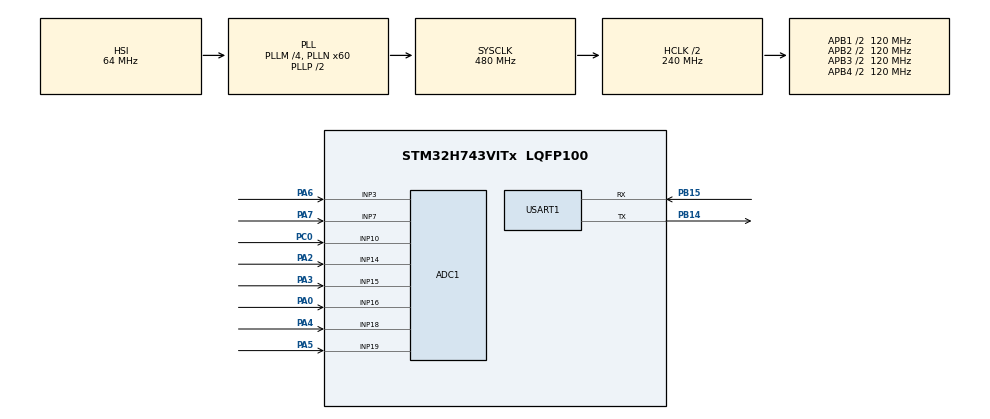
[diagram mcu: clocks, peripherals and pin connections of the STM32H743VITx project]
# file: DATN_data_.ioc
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ADC1.Channel-0\#ChannelRegularConversion=ADC_CHANNEL_3
ADC1.Channel-1\#ChannelRegularConversion=ADC_CHANNEL_7
ADC1.Channel-2\#ChannelRegularConversion=ADC_CHANNEL_10
ADC1.Channel-3\#ChannelRegularConversion=ADC_CHANNEL_14
ADC1.Channel-4\#ChannelRegularConversion=ADC_CHANNEL_15
ADC1.Channel-5\#ChannelRegularConversion=ADC_CHANNEL_16
ADC1.Channel-6\#ChannelRegularConversion=ADC_CHANNEL_18
ADC1.Channel-7\#ChannelRegularConversion=ADC_CHANNEL_19
ADC1.ConversionDataManagement=ADC_CONVERSIONDATA_DMA_CIRCULAR
ADC1.ExternalTrigConv=ADC_EXTERNALTRIG_T2_TRGO
ADC1.NbrOfConversion=8
ADC1.NbrOfConversionFlag=1
ADC1.OffsetNumber-0\#ChannelRegularConversion=ADC_OFFSET_NONE
ADC1.OffsetNumber-1\#ChannelRegularConversion=ADC_OFFSET_NONE
ADC1.OffsetNumber-2\#ChannelRegularConversion=ADC_OFFSET_NONE
ADC1.OffsetNumber-3\#ChannelRegularConversion=ADC_OFFSET_NONE
ADC1.OffsetNumber-4\#ChannelRegularConversion=ADC_OFFSET_NONE
ADC1.OffsetNumber-5\#ChannelRegularConversion=ADC_OFFSET_NONE
ADC1.OffsetNumber-6\#ChannelRegularConversion=ADC_OFFSET_NONE
ADC1.OffsetNumber-7\#ChannelRegularConversion=ADC_OFFSET_NONE
ADC1.OffsetSignedSaturation-0\#ChannelRegularConversion=DISABLE
ADC1.OffsetSignedSaturation-1\#ChannelRegularConversion=DISABLE
ADC1.OffsetSignedSaturation-2\#ChannelRegularConversion=DISABLE
ADC1.OffsetSignedSaturation-3\#ChannelRegularConversion=DISABLE
ADC1.OffsetSignedSaturation-4\#ChannelRegularConversion=DISABLE
ADC1.OffsetSignedSaturation-5\#ChannelRegularConversion=DISABLE
ADC1.OffsetSignedSaturation-6\#ChannelRegularConversion=DISABLE
ADC1.OffsetSignedSaturation-7\#ChannelRegularConversion=DISABLE
ADC1.Rank-0\#ChannelRegularConversion=1
ADC1.Rank-1\#ChannelRegularConversion=2
ADC1.Rank-2\#ChannelRegularConversion=3
ADC1.Rank-3\#ChannelRegularConversion=4
ADC1.Rank-4\#ChannelRegularConversion=5
ADC1.Rank-5\#ChannelRegularConversion=6
ADC1.Rank-6\#ChannelRegularConversion=7
ADC1.Rank-7\#ChannelRegularConversion=8
ADC1.SamplingTime-0\#ChannelRegularConversion=ADC_SAMPLETIME_64CYCLES_5
ADC1.SamplingTime-1\#ChannelRegularConversion=ADC_SAMPLETIME_64CYCLES_5
ADC1.SamplingTime-2\#ChannelRegularConversion=ADC_SAMPLETIME_64CYCLES_5
ADC1.SamplingTime-3\#ChannelRegularConversion=ADC_SAMPLETIME_64CYCLES_5
ADC1.SamplingTime-4\#ChannelRegularConversion=ADC_SAMPLETIME_64CYCLES_5
ADC1.SamplingTime-5\#ChannelRegularConversion=ADC_SAMPLETIME_64CYCLES_5
ADC1.SamplingTime-6\#ChannelRegularConversion=ADC_SAMPLETIME_64CYCLES_5
ADC1.SamplingTime-7\#ChannelRegularConversion=ADC_SAMPLETIME_64CYCLES_5
ADC1.master=1
CORTEX_M7.default_mode_Activation=1
Dma.ADC1.0.Direction=DMA_PERIPH_TO_MEMORY
Dma.ADC1.0.EventEnable=DISABLE
Dma.ADC1.0.FIFOMode=DMA_FIFOMODE_DISABLE
Dma.ADC1.0.Instance=DMA1_Stream0
Dma.ADC1.0.MemDataAlignment=DMA_MDATAALIGN_HALFWORD
Dma.ADC1.0.MemInc=DMA_MINC_ENABLE
Dma.ADC1.0.Mode=DMA_CIRCULAR
Dma.ADC1.0.PeriphDataAlignment=DMA_PDATAALIGN_HALFWORD
Dma.ADC1.0.PeriphInc=DMA_PINC_DISABLE
Dma.ADC1.0.Polarity=HAL_DMAMUX_REQ_GEN_RISING
Dma.ADC1.0.Priority=DMA_PRIORITY_LOW
Dma.ADC1.0.RequestNumber=1
Dma.ADC1.0.SignalID=NONE
Dma.ADC1.0.SyncEnable=DISABLE
Dma.ADC1.0.SyncPolarity=HAL_DMAMUX_SYNC_NO_EVENT
Dma.ADC1.0.SyncRequestNumber=1
Dma.ADC1.0.SyncSignalID=NONE
Dma.Request0=ADC1
Dma.Request1=USART1_TX
Dma.USART1_TX.1.Direction=DMA_MEMORY_TO_PERIPH
Dma.USART1_TX.1.EventEnable=DISABLE
Dma.USART1_TX.1.FIFOMode=DMA_FIFOMODE_DISABLE
Dma.USART1_TX.1.Instance=DMA1_Stream1
Dma.USART1_TX.1.MemDataAlignment=DMA_MDATAALIGN_BYTE
Dma.USART1_TX.1.MemInc=DMA_MINC_ENABLE
Dma.USART1_TX.1.Mode=DMA_NORMAL
Dma.USART1_TX.1.PeriphDataAlignment=DMA_PDATAALIGN_BYTE
Dma.USART1_TX.1.PeriphInc=DMA_PINC_DISABLE
Dma.USART1_TX.1.Polarity=HAL_DMAMUX_REQ_GEN_RISING
Dma.USART1_TX.1.Priority=DMA_PRIORITY_LOW
Dma.USART1_TX.1.RequestNumber=1
Dma.USART1_TX.1.SignalID=NONE
Dma.USART1_TX.1.SyncEnable=DISABLE
Dma.USART1_TX.1.SyncPolarity=HAL_DMAMUX_SYNC_NO_EVENT
Dma.USART1_TX.1.SyncRequestNumber=1
Dma.USART1_TX.1.SyncSignalID=NONE
Mcu.Family=STM32H7
Mcu.Name=STM32H743VITx
Mcu.Package=LQFP100
NVIC.DMA1_Stream0_IRQn=true\:0\:0\:false\:false\:true\:false\:true\:true
NVIC.DMA1_Stream1_IRQn=true\:0\:0\:false\:false\:true\:false\:true\:true
NVIC.PriorityGroup=NVIC_PRIORITYGROUP_4
NVIC.USART1_IRQn=true\:0\:0\:false\:false\:true\:true\:true\:true
PA0.Mode=IN16-Single-Ended
PA0.Signal=ADC1_INP16
PA13\ (JTMS/SWDIO).Mode=Serial_Wire
PA13\ (JTMS/SWDIO).Signal=DEBUG_JTMS-SWDIO
PA14\ (JTCK/SWCLK).Mode=Serial_Wire
PA14\ (JTCK/SWCLK).Signal=DEBUG_JTCK-SWCLK
PA2.Signal=ADCx_INP14
PA3.Signal=ADCx_INP15
PA4.Signal=ADCx_INP18
PA5.Signal=ADCx_INP19
PA6.Signal=ADCx_INP3
PA7.Signal=ADCx_INP7
PB14.Mode=Asynchronous
PB14.Signal=USART1_TX
PB15.Mode=Asynchronous
PB15.Signal=USART1_RX
PC0.Signal=ADCx_INP10
ProjectManager.HeapSize=0x200
ProjectManager.StackSize=0x400
ProjectManager.TargetToolchain=STM32CubeIDE
RCC.ADCFreq_Value=40000000
RCC.APB1Freq_Value=120000000
RCC.APB2Freq_Value=120000000
RCC.APB3Freq_Value=120000000
RCC.APB4Freq_Value=120000000
RCC.CortexFreq_Value=480000000
RCC.D1PPRE=RCC_APB3_DIV2
RCC.D2PPRE1=RCC_APB1_DIV2
RCC.D2PPRE2=RCC_APB2_DIV2
RCC.D3PPRE=RCC_APB4_DIV2
RCC.DIVM1=4
RCC.DIVM2=4
RCC.DIVN1=60
RCC.DIVN2=10
RCC.DIVP2=4
RCC.DIVQ2=4
RCC.HCLKFreq_Value=240000000
RCC.HPRE=RCC_HCLK_DIV2
RCC.PLL2FRACN=0
RCC.PLL3FRACN=0
RCC.PLLFRACN=0
RCC.SYSCLKFreq_VALUE=480000000
RCC.SYSCLKSource=RCC_SYSCLKSOURCE_PLLCLK
RCC.USBFreq_Value=480000000
SH.ADCx_INP10.0=ADC1_INP10,IN10-Single-Ended
SH.ADCx_INP14.0=ADC1_INP14,IN14-Single-Ended
SH.ADCx_INP15.0=ADC1_INP15,IN15-Single-Ended
SH.ADCx_INP18.0=ADC1_INP18,IN18-Single-Ended
SH.ADCx_INP19.0=ADC1_INP19,IN19-Single-Ended
SH.ADCx_INP3.0=ADC1_INP3,IN3-Single-Ended
SH.ADCx_INP7.0=ADC1_INP7,IN7-Single-Ended
TIM2.Period=999
TIM2.Prescaler=239
TIM2.TIM_MasterOutputTrigger=TIM_TRGO_UPDATE
USART1.VirtualMode-Asynchronous=VM_ASYNC
VP_MEMORYMAP_VS_MEMORYMAP.Mode=CurAppReg
VP_TIM2_VS_ClockSourceINT.Mode=Internal
board=custom

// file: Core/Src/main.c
/* USER CODE BEGIN Header */
/**
  ******************************************************************************
  * @file           : main.c
  * @brief          : Main program body
  ******************************************************************************
  * @attention
  *
  * Copyright (c) 2026 STMicroelectronics.
  * All rights reserved.
  *
  * This software is licensed under terms that can be found in the LICENSE file
  * in the root directory of this software component.
  * If no LICENSE file comes with this software, it is provided AS-IS.
  *
  ******************************************************************************
  */
/* USER CODE END Header */
#include "main.h"

/* USER CODE BEGIN Includes */
#include <stdbool.h>
#include <string.h>
/* USER CODE END Includes */

/* USER CODE BEGIN PTD */
/* Finite State Machine (FSM) states */
typedef enum {
  FSM_STATE_IDLE = 0,         /* Wait for ADC DMA completion event */
  FSM_STATE_PROCESS_SAMPLE,   /* Accumulate 8-channel sample */
  FSM_STATE_CALC_AVERAGE,     /* Calculate 4-sample average and build packet */
  FSM_STATE_SEND_DATA         /* Transmit frame via UART DMA */
} FSM_State_t;
/* USER CODE END PTD */

/* USER CODE BEGIN PD */
#define NUM_CHANNELS           8
#define SAMPLES_TO_AVERAGE     4
#define FRAME_HEADER_1         0xAA
#define FRAME_HEADER_2         0x55
#define FRAME_TAIL             0x0D
#define FRAME_SIZE             21
/* USER CODE END PD */

ADC_HandleTypeDef hadc1;
DMA_HandleTypeDef hdma_adc1;

TIM_HandleTypeDef htim2;

UART_HandleTypeDef huart1;
DMA_HandleTypeDef hdma_usart1_tx;

/* USER CODE BEGIN PV */
/* Flags and FSM State */
volatile bool adc_data_ready = false;
volatile bool uart_tx_busy = false;
FSM_State_t current_state = FSM_STATE_IDLE;

/* ADC Buffers */
uint16_t adc_raw_buffer[NUM_CHANNELS] = {0};
uint32_t adc_accumulator[NUM_CHANNELS] = {0};
uint16_t adc_avg_data[NUM_CHANNELS] = {0};
uint8_t sample_count = 0;

/* UART Protocol Buffers */
uint8_t packet_counter = 0;
uint8_t tx_frame_buffer[FRAME_SIZE] = {0};

/* ========================================================================== */
/* DEBUG VARIABLES (Dùng để xem trực tiếp trong STM32CubeIDE Live Expressions) */
/* ========================================================================== */
/* Điện áp tức thời hiển thị dạng số thực (Volt) */
float debug_volt_mcu[NUM_CHANNELS] = {0.0f};     /* Điện áp tại chân MCU (0.000V - 3.300V) */
float debug_volt_input[NUM_CHANNELS] = {0.0f};   /* Điện áp đầu vào trước mạch chia áp (0.000V - 12.000V) */

/* Bộ đếm tổng số lần thực thi */
volatile uint32_t debug_adc_irq_count = 0;       /* Tổng số lần ngắt ADC DMA (tăng liên tục ~1000 lần/giây) */
volatile uint32_t debug_packets_generated = 0;   /* Tổng số gói dữ liệu đã tạo ra (tăng liên tục ~250 lần/giây) */
volatile uint32_t debug_uart_tx_attempts = 0;    /* Số lần kích hoạt truyền UART */
volatile uint32_t debug_uart_tx_busy_count = 0;  /* Số lần phát hiện UART bận (mục tiêu: 0) */

/* Tần số thực tế đo được qua SysTick (cập nhật tự động mỗi 1 giây) */
volatile uint32_t debug_adc_samples_per_sec = 0; /* Tần số lấy mẫu ADC thực tế (kỳ vọng hiển thị ~1000) */
volatile uint32_t debug_packets_per_sec = 0;     /* Tần số gói tin gửi lên thực tế (kỳ vọng hiển thị ~250) */
/* USER CODE END PV */

void SystemClock_Config(void);
static void MPU_Config(void);
static void MX_GPIO_Init(void);
static void MX_DMA_Init(void);
static void MX_ADC1_Init(void);
static void MX_USART1_UART_Init(void);
static void MX_TIM2_Init(void);
/* USER CODE BEGIN PFP */
void FSM_Init(void);
void FSM_Run(void);
void Build_Tx_Frame(void);
/* USER CODE END PFP */

/* USER CODE BEGIN 0 */
/**
  * @brief ADC Conversion Complete Callback (called by DMA interrupt)
  * @param hadc: pointer to ADC handle
  */
void HAL_ADC_ConvCpltCallback(ADC_HandleTypeDef* hadc)
{
  if (hadc->Instance == ADC1)
  {
    /* Fast non-blocking ISR: set event flag and return immediately */
    adc_data_ready = true;
    debug_adc_irq_count++;
  }
}

/**
  * @brief UART Transmission Complete Callback (called by DMA interrupt)
  * @param huart: pointer to UART handle
  */
void HAL_UART_TxCpltCallback(UART_HandleTypeDef* huart)
{
  if (huart->Instance == USART1)
  {
    uart_tx_busy = false;
  }
}

/**
  * @brief Construct the 21-byte binary transmission packet
  */
void Build_Tx_Frame(void)
{
  /* Byte 0 - 1: Synchronization Header */
  tx_frame_buffer[0] = FRAME_HEADER_1;
  tx_frame_buffer[1] = FRAME_HEADER_2;

  /* Byte 2: Packet Sequence Counter */
  tx_frame_buffer[2] = packet_counter++;

  /* Byte 3 - 18: 8 Channels (16-bit, Little-Endian) */
  for (int i = 0; i < NUM_CHANNELS; i++)
  {
    tx_frame_buffer[3 + (i * 2)]     = (uint8_t)(adc_avg_data[i] & 0xFF);         /* Low byte */
    tx_frame_buffer[3 + (i * 2) + 1] = (uint8_t)((adc_avg_data[i] >> 8) & 0xFF);  /* High byte */
  }

  /* Byte 19: Checksum (XOR from Byte 2 to Byte 18) */
  uint8_t checksum = 0;
  for (int i = 2; i <= 18; i++)
  {
    checksum ^= tx_frame_buffer[i];
  }
  tx_frame_buffer[19] = checksum;

  /* Byte 20: Frame Tail */
  tx_frame_buffer[20] = FRAME_TAIL;
}

/**
  * @brief Initialize FSM and data buffers
  */
void FSM_Init(void)
{
  adc_data_ready = false;
  uart_tx_busy = false;
  sample_count = 0;
  packet_counter = 0;
  current_state = FSM_STATE_IDLE;
  memset(adc_accumulator, 0, sizeof(adc_accumulator));
  memset(adc_avg_data, 0, sizeof(adc_avg_data));
}

/**
  * @brief Execute one step of the Main Loop FSM
  */
void FSM_Run(void)
{
  switch (current_state)
  {
    case FSM_STATE_IDLE:
      if (adc_data_ready)
      {
        current_state = FSM_STATE_PROCESS_SAMPLE;
      }
      break;

    case FSM_STATE_PROCESS_SAMPLE:
      adc_data_ready = false;

      /* Accumulate raw ADC samples for all 8 channels */
      for (int i = 0; i < NUM_CHANNELS; i++)
      {
        adc_accumulator[i] += adc_raw_buffer[i];
      }
      sample_count++;

      if (sample_count >= SAMPLES_TO_AVERAGE)
      {
        current_state = FSM_STATE_CALC_AVERAGE;
      }
      else
      {
        current_state = FSM_STATE_IDLE;
      }
      break;

    case FSM_STATE_CALC_AVERAGE:
      /* Calculate average of 4 samples for each channel */
      for (int i = 0; i < NUM_CHANNELS; i++)
      {
        adc_avg_data[i] = (uint16_t)(adc_accumulator[i] / SAMPLES_TO_AVERAGE);
        adc_accumulator[i] = 0;

        /* Calculate debug voltages for Live Expressions */
        debug_volt_mcu[i] = ((float)adc_avg_data[i] * 3.3f) / 65535.0f;
        debug_volt_input[i] = debug_volt_mcu[i] * (12.0f / 3.3f);
      }
      sample_count = 0;
      debug_packets_generated++;

      /* Package frame */
      Build_Tx_Frame();

      current_state = FSM_STATE_SEND_DATA;
      break;

    case FSM_STATE_SEND_DATA:
      debug_uart_tx_attempts++;
      /* Transmit via UART DMA if not busy */
      if (!uart_tx_busy)
      {
        uart_tx_busy = true;
        if (HAL_UART_Transmit_DMA(&huart1, tx_frame_buffer, FRAME_SIZE) != HAL_OK)
        {
          uart_tx_busy = false;
        }
      }
      else
      {
        debug_uart_tx_busy_count++;
      }
      current_state = FSM_STATE_IDLE;
      break;

    default:
      current_state = FSM_STATE_IDLE;
      break;
  }

  /* Compute 1-second diagnostic rates (tần số thực tế) */
  static uint32_t last_stats_tick = 0;
  static uint32_t last_adc_count = 0;
  static uint32_t last_pkt_count = 0;
  uint32_t current_tick = HAL_GetTick();
  if (current_tick - last_stats_tick >= 1000)
  {
    debug_adc_samples_per_sec = debug_adc_irq_count - last_adc_count;
    debug_packets_per_sec = debug_packets_generated - last_pkt_count;
    last_adc_count = debug_adc_irq_count;
    last_pkt_count = debug_packets_generated;
    last_stats_tick = current_tick;
  }
}
/* USER CODE END 0 */

int main(void)
{

  /* MPU Configuration--------------------------------------------------------*/
  MPU_Config();

  /* MCU Configuration--------------------------------------------------------*/

  /* Reset of all peripherals, Initializes the Flash interface and the Systick. */
  HAL_Init();

  /* Configure the system clock */
  SystemClock_Config();

  /* Initialize all configured peripherals */
  MX_GPIO_Init();
  MX_DMA_Init();
  MX_ADC1_Init();
  MX_USART1_UART_Init();
  MX_TIM2_Init();
  /* USER CODE BEGIN 2 */
  FSM_Init();

  /* Calibrate ADC1 (Offset & Linearity) for 16-bit accuracy */
  HAL_ADCEx_Calibration_Start(&hadc1, ADC_CALIB_OFFSET_LINEARITY, ADC_SINGLE_ENDED);

  /* Start ADC1 with DMA */
  HAL_ADC_Start_DMA(&hadc1, (uint32_t*)adc_raw_buffer, NUM_CHANNELS);

  /* Start TIM2 to generate 1 kHz TRGO trigger to ADC1 */
  HAL_TIM_Base_Start(&htim2);
  /* USER CODE END 2 */

  /* Infinite loop */
  /* USER CODE BEGIN WHILE */
  while (1)
  {
    /* Run FSM state machine */
    FSM_Run();
    /* USER CODE END WHILE */

  }
}

void SystemClock_Config(void)
{
  RCC_OscInitTypeDef RCC_OscInitStruct = {0};
  RCC_ClkInitTypeDef RCC_ClkInitStruct = {0};

  /** Supply configuration update enable
  */
  HAL_PWREx_ConfigSupply(PWR_LDO_SUPPLY);

  /** Configure the main internal regulator output voltage
  */
  __HAL_PWR_VOLTAGESCALING_CONFIG(PWR_REGULATOR_VOLTAGE_SCALE0);

  while(!__HAL_PWR_GET_FLAG(PWR_FLAG_VOSRDY)) {}

  /** Initializes the RCC Oscillators according to the specified parameters
  * in the RCC_OscInitTypeDef structure.
  */
  RCC_OscInitStruct.OscillatorType = RCC_OSCILLATORTYPE_HSI;
  RCC_OscInitStruct.HSIState = RCC_HSI_DIV1;
  RCC_OscInitStruct.HSICalibrationValue = RCC_HSICALIBRATION_DEFAULT;
  RCC_OscInitStruct.PLL.PLLState = RCC_PLL_ON;
  RCC_OscInitStruct.PLL.PLLSource = RCC_PLLSOURCE_HSI;
  RCC_OscInitStruct.PLL.PLLM = 4;
  RCC_OscInitStruct.PLL.PLLN = 60;
  RCC_OscInitStruct.PLL.PLLP = 2;
  RCC_OscInitStruct.PLL.PLLQ = 2;
  RCC_OscInitStruct.PLL.PLLR = 2;
  RCC_OscInitStruct.PLL.PLLRGE = RCC_PLL1VCIRANGE_3;
  RCC_OscInitStruct.PLL.PLLVCOSEL = RCC_PLL1VCOWIDE;
  RCC_OscInitStruct.PLL.PLLFRACN = 0;
  if (HAL_RCC_OscConfig(&RCC_OscInitStruct) != HAL_OK)
  {
    Error_Handler();
  }

  /** Initializes the CPU, AHB and APB buses clocks
  */
  RCC_ClkInitStruct.ClockType = RCC_CLOCKTYPE_HCLK|RCC_CLOCKTYPE_SYSCLK
                              |RCC_CLOCKTYPE_PCLK1|RCC_CLOCKTYPE_PCLK2
                              |RCC_CLOCKTYPE_D3PCLK1|RCC_CLOCKTYPE_D1PCLK1;
  RCC_ClkInitStruct.SYSCLKSource = RCC_SYSCLKSOURCE_PLLCLK;
  RCC_ClkInitStruct.SYSCLKDivider = RCC_SYSCLK_DIV1;
  RCC_ClkInitStruct.AHBCLKDivider = RCC_HCLK_DIV2;
  RCC_ClkInitStruct.APB3CLKDivider = RCC_APB3_DIV2;
  RCC_ClkInitStruct.APB1CLKDivider = RCC_APB1_DIV2;
  RCC_ClkInitStruct.APB2CLKDivider = RCC_APB2_DIV2;
  RCC_ClkInitStruct.APB4CLKDivider = RCC_APB4_DIV2;

  if (HAL_RCC_ClockConfig(&RCC_ClkInitStruct, FLASH_LATENCY_4) != HAL_OK)
  {
    Error_Handler();
  }
}

static void MX_ADC1_Init(void)
{

  ADC_MultiModeTypeDef multimode = {0};
  ADC_ChannelConfTypeDef sConfig = {0};

  /** Common config
  */
  hadc1.Instance = ADC1;
  hadc1.Init.ClockPrescaler = ADC_CLOCK_ASYNC_DIV1;
  hadc1.Init.Resolution = ADC_RESOLUTION_16B;
  hadc1.Init.ScanConvMode = ADC_SCAN_ENABLE;
  hadc1.Init.EOCSelection = ADC_EOC_SINGLE_CONV;
  hadc1.Init.LowPowerAutoWait = DISABLE;
  hadc1.Init.ContinuousConvMode = DISABLE;
  hadc1.Init.NbrOfConversion = 8;
  hadc1.Init.DiscontinuousConvMode = DISABLE;
  hadc1.Init.ExternalTrigConv = ADC_EXTERNALTRIG_T2_TRGO;
  hadc1.Init.ExternalTrigConvEdge = ADC_EXTERNALTRIGCONVEDGE_RISING;
  hadc1.Init.ConversionDataManagement = ADC_CONVERSIONDATA_DMA_CIRCULAR;
  hadc1.Init.Overrun = ADC_OVR_DATA_PRESERVED;
  hadc1.Init.LeftBitShift = ADC_LEFTBITSHIFT_NONE;
  hadc1.Init.OversamplingMode = DISABLE;
  hadc1.Init.Oversampling.Ratio = 1;
  if (HAL_ADC_Init(&hadc1) != HAL_OK)
  {
    Error_Handler();
  }

  /** Configure the ADC multi-mode
  */
  multimode.Mode = ADC_MODE_INDEPENDENT;
  if (HAL_ADCEx_MultiModeConfigChannel(&hadc1, &multimode) != HAL_OK)
  {
    Error_Handler();
  }

  /** Configure Regular Channel
  */
  sConfig.Channel = ADC_CHANNEL_3;
  sConfig.Rank = ADC_REGULAR_RANK_1;
  sConfig.SamplingTime = ADC_SAMPLETIME_64CYCLES_5;
  sConfig.SingleDiff = ADC_SINGLE_ENDED;
  sConfig.OffsetNumber = ADC_OFFSET_NONE;
  sConfig.Offset = 0;
  sConfig.OffsetSignedSaturation = DISABLE;
  if (HAL_ADC_ConfigChannel(&hadc1, &sConfig) != HAL_OK)
  {
    Error_Handler();
  }

  /** Configure Regular Channel
  */
  sConfig.Channel = ADC_CHANNEL_7;
  sConfig.Rank = ADC_REGULAR_RANK_2;
  if (HAL_ADC_ConfigChannel(&hadc1, &sConfig) != HAL_OK)
  {
    Error_Handler();
  }

  /** Configure Regular Channel
  */
  sConfig.Channel = ADC_CHANNEL_10;
  sConfig.Rank = ADC_REGULAR_RANK_3;
  if (HAL_ADC_ConfigChannel(&hadc1, &sConfig) != HAL_OK)
  {
    Error_Handler();
  }

  /** Configure Regular Channel
  */
  sConfig.Channel = ADC_CHANNEL_14;
  sConfig.Rank = ADC_REGULAR_RANK_4;
  if (HAL_ADC_ConfigChannel(&hadc1, &sConfig) != HAL_OK)
  {
    Error_Handler();
  }

  /** Configure Regular Channel
  */
  sConfig.Channel = ADC_CHANNEL_15;
  sConfig.Rank = ADC_REGULAR_RANK_5;
  if (HAL_ADC_ConfigChannel(&hadc1, &sConfig) != HAL_OK)
  {
    Error_Handler();
  }

  /** Configure Regular Channel
  */
  sConfig.Channel = ADC_CHANNEL_16;
  sConfig.Rank = ADC_REGULAR_RANK_6;
  if (HAL_ADC_ConfigChannel(&hadc1, &sConfig) != HAL_OK)
  {
    Error_Handler();
  }

  /** Configure Regular Channel
  */
  sConfig.Channel = ADC_CHANNEL_18;
  sConfig.Rank = ADC_REGULAR_RANK_7;
  if (HAL_ADC_ConfigChannel(&hadc1, &sConfig) != HAL_OK)
  {
    Error_Handler();
  }

  /** Configure Regular Channel
  */
  sConfig.Channel = ADC_CHANNEL_19;
  sConfig.Rank = ADC_REGULAR_RANK_8;
  if (HAL_ADC_ConfigChannel(&hadc1, &sConfig) != HAL_OK)
  {
    Error_Handler();
  }

}

static void MX_TIM2_Init(void)
{

  TIM_ClockConfigTypeDef sClockSourceConfig = {0};
  TIM_MasterConfigTypeDef sMasterConfig = {0};

  htim2.Instance = TIM2;
  htim2.Init.Prescaler = 239;
  htim2.Init.CounterMode = TIM_COUNTERMODE_UP;
  htim2.Init.Period = 999;
  htim2.Init.ClockDivision = TIM_CLOCKDIVISION_DIV1;
  htim2.Init.AutoReloadPreload = TIM_AUTORELOAD_PRELOAD_DISABLE;
  if (HAL_TIM_Base_Init(&htim2) != HAL_OK)
  {
    Error_Handler();
  }
  sClockSourceConfig.ClockSource = TIM_CLOCKSOURCE_INTERNAL;
  if (HAL_TIM_ConfigClockSource(&htim2, &sClockSourceConfig) != HAL_OK)
  {
    Error_Handler();
  }
  sMasterConfig.MasterOutputTrigger = TIM_TRGO_UPDATE;
  sMasterConfig.MasterSlaveMode = TIM_MASTERSLAVEMODE_DISABLE;
  if (HAL_TIMEx_MasterConfigSynchronization(&htim2, &sMasterConfig) != HAL_OK)
  {
    Error_Handler();
  }

}

static void MX_USART1_UART_Init(void)
{

  huart1.Instance = USART1;
  huart1.Init.BaudRate = 115200;
  huart1.Init.WordLength = UART_WORDLENGTH_8B;
  huart1.Init.StopBits = UART_STOPBITS_1;
  huart1.Init.Parity = UART_PARITY_NONE;
  huart1.Init.Mode = UART_MODE_TX_RX;
  huart1.Init.HwFlowCtl = UART_HWCONTROL_NONE;
  huart1.Init.OverSampling = UART_OVERSAMPLING_16;
  huart1.Init.OneBitSampling = UART_ONE_BIT_SAMPLE_DISABLE;
  huart1.Init.ClockPrescaler = UART_PRESCALER_DIV1;
  huart1.AdvancedInit.AdvFeatureInit = UART_ADVFEATURE_NO_INIT;
  if (HAL_UART_Init(&huart1) != HAL_OK)
  {
    Error_Handler();
  }
  if (HAL_UARTEx_SetTxFifoThreshold(&huart1, UART_TXFIFO_THRESHOLD_1_8) != HAL_OK)
  {
    Error_Handler();
  }
  if (HAL_UARTEx_SetRxFifoThreshold(&huart1, UART_RXFIFO_THRESHOLD_1_8) != HAL_OK)
  {
    Error_Handler();
  }
  if (HAL_UARTEx_DisableFifoMode(&huart1) != HAL_OK)
  {
    Error_Handler();
  }

}

static void MX_DMA_Init(void)
{

  /* DMA controller clock enable */
  __HAL_RCC_DMA1_CLK_ENABLE();

  /* DMA interrupt init */
  /* DMA1_Stream0_IRQn interrupt configuration */
  HAL_NVIC_SetPriority(DMA1_Stream0_IRQn, 0, 0);
  HAL_NVIC_EnableIRQ(DMA1_Stream0_IRQn);
  /* DMA1_Stream1_IRQn interrupt configuration */
  HAL_NVIC_SetPriority(DMA1_Stream1_IRQn, 0, 0);
  HAL_NVIC_EnableIRQ(DMA1_Stream1_IRQn);

}

static void MX_GPIO_Init(void)
{

  /* GPIO Ports Clock Enable */
  __HAL_RCC_GPIOC_CLK_ENABLE();
  __HAL_RCC_GPIOA_CLK_ENABLE();
  __HAL_RCC_GPIOB_CLK_ENABLE();

}

 /* MPU Configuration */

void MPU_Config(void)
{
  MPU_Region_InitTypeDef MPU_InitStruct = {0};

  /* Disables the MPU */
  HAL_MPU_Disable();

  /** Initializes and configures the Region and the memory to be protected
  */
  MPU_InitStruct.Enable = MPU_REGION_ENABLE;
  MPU_InitStruct.Number = MPU_REGION_NUMBER0;
  MPU_InitStruct.BaseAddress = 0x0;
  MPU_InitStruct.Size = MPU_REGION_SIZE_4GB;
  MPU_InitStruct.SubRegionDisable = 0x87;
  MPU_InitStruct.TypeExtField = MPU_TEX_LEVEL0;
  MPU_InitStruct.AccessPermission = MPU_REGION_NO_ACCESS;
  MPU_InitStruct.DisableExec = MPU_INSTRUCTION_ACCESS_DISABLE;
  MPU_InitStruct.IsShareable = MPU_ACCESS_SHAREABLE;
  MPU_InitStruct.IsCacheable = MPU_ACCESS_NOT_CACHEABLE;
  MPU_InitStruct.IsBufferable = MPU_ACCESS_NOT_BUFFERABLE;

  HAL_MPU_ConfigRegion(&MPU_InitStruct);
  /* Enables the MPU */
  HAL_MPU_Enable(MPU_PRIVILEGED_DEFAULT);

}

void Error_Handler(void)
{
  __disable_irq();
  while (1)
  {
  }
}
